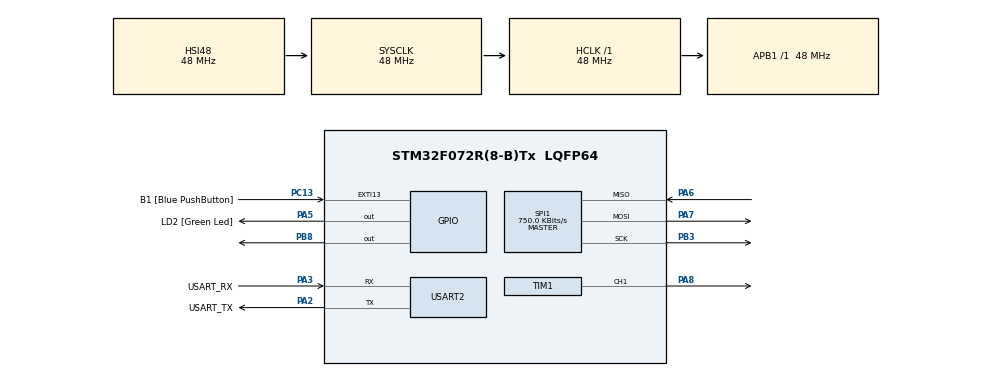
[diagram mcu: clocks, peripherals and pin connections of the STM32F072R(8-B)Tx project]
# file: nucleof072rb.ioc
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Mcu.Family=STM32F0
Mcu.Name=STM32F072R(8-B)Tx
Mcu.Package=LQFP64
PA13.GPIO_Label=TMS
PA13.Mode=Serial_Wire
PA13.Signal=SYS_SWDIO
PA14.GPIO_Label=TCK
PA14.Mode=Serial_Wire
PA14.Signal=SYS_SWCLK
PA2.GPIO_Label=USART_TX
PA2.GPIO_Mode=GPIO_MODE_AF_PP
PA2.GPIO_PuPd=GPIO_NOPULL
PA2.GPIO_Speed=GPIO_SPEED_FREQ_LOW
PA2.Mode=Asynchronous
PA2.Signal=USART2_TX
PA3.GPIO_Label=USART_RX
PA3.GPIO_Mode=GPIO_MODE_AF_PP
PA3.GPIO_PuPd=GPIO_NOPULL
PA3.GPIO_Speed=GPIO_SPEED_FREQ_LOW
PA3.Mode=Asynchronous
PA3.Signal=USART2_RX
PA5.GPIO_Label=LD2 [Green Led]
PA5.GPIO_Mode=GPIO_MODE_OUTPUT_PP
PA5.GPIO_PuPd=GPIO_NOPULL
PA5.GPIO_Speed=GPIO_SPEED_FREQ_LOW
PA5.Signal=GPIO_Output
PA6.Mode=Full_Duplex_Master
PA6.Signal=SPI1_MISO
PA7.Mode=Full_Duplex_Master
PA7.Signal=SPI1_MOSI
PA8.Signal=S_TIM1_CH1
PB3.Mode=Full_Duplex_Master
PB3.Signal=SPI1_SCK
PB8.PinState=GPIO_PIN_SET
PB8.Signal=GPIO_Output
PC13.GPIO_Label=B1 [Blue PushButton]
PC13.GPIO_ModeDefaultEXTI=GPIO_MODE_IT_FALLING
PC13.Signal=GPXTI13
PC14-OSC32_IN.Mode=LSE-External-Oscillator
PC14-OSC32_IN.Signal=RCC_OSC32_IN
PC15-OSC32_OUT.Mode=LSE-External-Oscillator
PC15-OSC32_OUT.Signal=RCC_OSC32_OUT
PF0-OSC_IN.Mode=HSE-External-Clock-Source
PF0-OSC_IN.Signal=RCC_OSC_IN
PF1-OSC_OUT.Signal=RCC_OSC_OUT
ProjectManager.HeapSize=0x200
ProjectManager.StackSize=0x400
ProjectManager.TargetToolchain=STM32CubeIDE
RCC.AHBFreq_Value=48000000
RCC.APB1Freq_Value=48000000
RCC.APB1TimFreq_Value=48000000
RCC.FLatency-AdvancedSettings=FLASH_LATENCY_1
RCC.HCLKFreq_Value=48000000
RCC.PLLDivider=RCC_PREDIV_DIV2
RCC.PLLMUL=RCC_PLL_MUL12
RCC.PREFETCH_ENABLE-AdvancedSettings=1
RCC.SYSCLKFreq_VALUE=48000000
RCC.SYSCLKSource=RCC_SYSCLKSOURCE_HSI48
SH.S_TIM1_CH1.0=TIM1_CH1,PWM Generation1 CH1
SPI1.BaudRatePrescaler=SPI_BAUDRATEPRESCALER_64
SPI1.CalculateBaudRate=750.0 KBits/s
SPI1.DataSize=SPI_DATASIZE_8BIT
SPI1.Direction=SPI_DIRECTION_2LINES
SPI1.Mode=SPI_MODE_MASTER
SPI1.VirtualType=VM_MASTER
TIM1.Channel-PWM\ Generation1\ CH1=TIM_CHANNEL_1
TIM1.Period=59999
TIM1.Prescaler=15
USART2.VirtualMode=VM_ASYNC
USART2.VirtualMode-Asynchronous=VM_ASYNC
VP_TIM1_VS_ClockSourceINT.Mode=Internal
board=NUCLEO-F072RB

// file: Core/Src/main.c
/* USER CODE BEGIN Header */
/**
  ******************************************************************************
  * @file           : main.c
  * @brief          : Main program body
  ******************************************************************************
  * @attention
  *
  * <h2><center>&copy; Copyright (c) 2021 STMicroelectronics.
  * All rights reserved.</center></h2>
  *
  * This software component is licensed by ST under BSD 3-Clause license,
  * the "License"; You may not use this file except in compliance with the
  * License. You may obtain a copy of the License at:
  *                        opensource.org/licenses/BSD-3-Clause
  *
  ******************************************************************************
  */
/* USER CODE END Header */
#include "main.h"
#include "spi.h"
#include "tim.h"
#include "usart.h"
#include "gpio.h"

void SystemClock_Config(void);

int main(void)
{

  /* MCU Configuration--------------------------------------------------------*/

  /* Reset of all peripherals, Initializes the Flash interface and the Systick. */
  HAL_Init();

  /* Configure the system clock */
  SystemClock_Config();

  /* Initialize all configured peripherals */
  MX_GPIO_Init();
  MX_USART2_UART_Init();
  MX_SPI1_Init();
  MX_TIM1_Init();
  /* USER CODE BEGIN 2 */
  HAL_GPIO_WritePin(GPIOB, GPIO_PIN_8, GPIO_PIN_SET);
  __HAL_TIM_SET_COMPARE(&htim1, TIM_CHANNEL_1, 3000U);
  if (HAL_TIM_PWM_Start(&htim1, TIM_CHANNEL_1) != HAL_OK)
  {
    Error_Handler();
  }
  /* USER CODE END 2 */

  /* Infinite loop */
  while (1)
  {

    /* USER CODE BEGIN 3 */
	  uint8_t tx_buffer[3] = {0x01, 0x80, 0x00};
	  uint8_t rx_buffer[3] = {0};
	  HAL_GPIO_WritePin(GPIOB, GPIO_PIN_8, GPIO_PIN_RESET);
	  HAL_StatusTypeDef spi_status =
	      HAL_SPI_TransmitReceive(
	          &hspi1, tx_buffer, rx_buffer, 3, 100);
	  HAL_GPIO_WritePin(GPIOB, GPIO_PIN_8, GPIO_PIN_SET);
	  if (spi_status == HAL_OK)
	   {

	     uint16_t adc_raw =
	         (uint16_t)(((rx_buffer[1] & 0x03U) << 8)
	                    | rx_buffer[2]);

	     uint32_t pwm_value =
	         3000U + ((uint32_t)adc_raw * 3000U) / 1023U;

	     __HAL_TIM_SET_COMPARE(
	         &htim1, TIM_CHANNEL_1, pwm_value);
	   }

	   HAL_Delay(10);
	 }

  /* USER CODE END 3 */
}

void SystemClock_Config(void)
{
  RCC_OscInitTypeDef RCC_OscInitStruct = {0};
  RCC_ClkInitTypeDef RCC_ClkInitStruct = {0};
  RCC_PeriphCLKInitTypeDef PeriphClkInit = {0};

  /** Initializes the RCC Oscillators according to the specified parameters
  * in the RCC_OscInitTypeDef structure.
  */
  RCC_OscInitStruct.OscillatorType = RCC_OSCILLATORTYPE_HSI48;
  RCC_OscInitStruct.HSI48State = RCC_HSI48_ON;
  RCC_OscInitStruct.PLL.PLLState = RCC_PLL_NONE;
  if (HAL_RCC_OscConfig(&RCC_OscInitStruct) != HAL_OK)
  {
    Error_Handler();
  }
  /** Initializes the CPU, AHB and APB buses clocks
  */
  RCC_ClkInitStruct.ClockType = RCC_CLOCKTYPE_HCLK|RCC_CLOCKTYPE_SYSCLK
                              |RCC_CLOCKTYPE_PCLK1;
  RCC_ClkInitStruct.SYSCLKSource = RCC_SYSCLKSOURCE_HSI48;
  RCC_ClkInitStruct.AHBCLKDivider = RCC_SYSCLK_DIV1;
  RCC_ClkInitStruct.APB1CLKDivider = RCC_HCLK_DIV1;

  if (HAL_RCC_ClockConfig(&RCC_ClkInitStruct, FLASH_LATENCY_1) != HAL_OK)
  {
    Error_Handler();
  }
  PeriphClkInit.PeriphClockSelection = RCC_PERIPHCLK_USART2;
  PeriphClkInit.Usart2ClockSelection = RCC_USART2CLKSOURCE_PCLK1;
  if (HAL_RCCEx_PeriphCLKConfig(&PeriphClkInit) != HAL_OK)
  {
    Error_Handler();
  }
}

void Error_Handler(void)
{
  __disable_irq();
  while (1)
  {
  }
}

/************************ (C) COPYRIGHT STMicroelectronics *****END OF FILE****/
